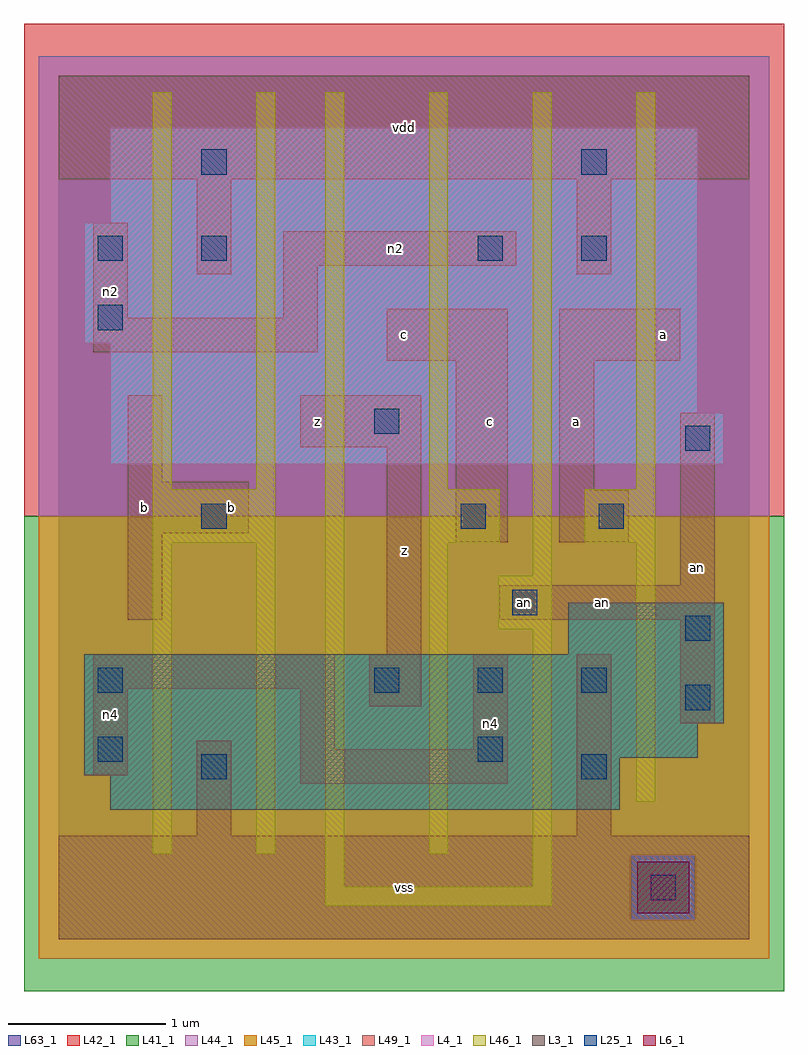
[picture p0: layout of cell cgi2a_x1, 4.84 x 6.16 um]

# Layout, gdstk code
import gdstk
lib = gdstk.Library(unit=1e-6, precision=1e-09)
def R(c, l, rs):  # rectangles x0, y0, x1, y1
    for r in rs: c.add(gdstk.rectangle(r[:2], r[2:], *l))
def A(c, l, x, y, w, h, nx, ny, dx, dy):  # array of equal rectangles
    R(c, l, [(x+i*dx, y+j*dy, x+i*dx+w, y+j*dy+h) for i in range(nx) for j in range(ny)])
L3_1 = (3, 1)
L4_1 = (4, 1)
L6_1 = (6, 1)
L25_1 = (25, 1)
L41_1 = (41, 1)
L42_1 = (42, 1)
L43_1 = (43, 1)
L44_1 = (44, 1)
L45_1 = (45, 1)
L46_1 = (46, 1)
L49_1 = (49, 1)
L63_1 = (63, 1)

cgi2a_x1 = lib.new_cell('cgi2a_x1')
R(cgi2a_x1, L3_1, [(0.33,0.825,3.575,1.045), (0.165,1.045,3.575,1.155), (0.165,1.155,4.07,1.375), (0.165,1.375,4.235,1.815), (3.245,1.815,4.235,2.145)])
R(cgi2a_x1, L4_1, [(0.33,3.025,4.235,3.355), (0.33,3.355,4.07,3.795), (0.165,3.795,4.07,4.565), (0.33,4.565,4.07,5.17)])
R(cgi2a_x1, L6_1, [(3.685,0.165,4.015,0.495)])
A(cgi2a_x1, L25_1, 2.01, 1.57, 0.16, 0.16, 3, 1, 0.66, 0)
R(cgi2a_x1, L25_1, [(3.77,0.25,3.93,0.41), (0.91,1.02,1.07,1.18), (3.33,1.02,3.49,1.18), (0.25,1.13,0.41,1.29), (2.67,1.13,2.83,1.29), (3.99,1.46,4.15,1.62), (0.25,1.57,0.41,1.73), (3.99,1.9,4.15,2.06), (2.89,2.065,3.05,2.225), (0.91,2.615,1.07,2.775), (2.56,2.615,2.72,2.775), (3.44,2.615,3.6,2.775), (3.99,3.11,4.15,3.27), (2.01,3.22,2.17,3.38), (0.25,3.88,0.41,4.04), (0.25,4.32,0.41,4.48), (0.91,4.32,1.07,4.48), (2.67,4.32,2.83,4.48), (3.33,4.32,3.49,4.48), (0.91,4.87,1.07,5.03), (3.33,4.87,3.49,5.03)])
R(cgi2a_x1, L41_1, [(-0.22,-0.33,4.62,2.695)])
R(cgi2a_x1, L42_1, [(-0.22,2.695,4.62,5.83)])
R(cgi2a_x1, L43_1, [(3.685,0.165,4.015,0.495), (0.33,0.825,3.575,1.045), (0.165,1.045,3.575,1.155), (0.165,1.155,4.07,1.375), (0.165,1.375,4.235,1.815), (3.245,1.815,4.235,2.145), (0.33,3.025,4.235,3.355), (0.33,3.355,4.07,3.795), (0.165,3.795,4.07,4.565), (0.33,4.565,4.07,5.17)])
R(cgi2a_x1, L44_1, [(3.645,0.125,4.055,0.535), (-0.125,2.695,4.525,5.625)])
R(cgi2a_x1, L45_1, [(-0.125,-0.125,4.525,0.125), (-0.125,0.125,3.645,0.535), (4.055,0.125,4.525,0.535), (-0.125,0.535,4.525,2.695)])
R(cgi2a_x1, L46_1, [(1.7,0.215,3.14,0.335), (1.7,0.335,1.82,5.395), (3.02,0.335,3.14,1.975), (0.6,0.545,0.72,2.525), (1.26,0.545,1.38,2.525), (2.36,0.545,2.48,2.525), (3.68,0.875,3.8,2.525), (2.8,1.975,3.14,2.315), (3.02,2.315,3.14,5.395), (0.6,2.525,1.38,2.865), (2.36,2.525,2.81,2.865), (3.35,2.525,3.8,2.865), (0.6,2.865,0.72,5.395), (1.26,2.865,1.38,5.395), (2.36,2.865,2.48,5.395), (3.68,2.865,3.8,5.395)])
R(cgi2a_x1, L49_1, [(0,0,4.4,0.66), (0.88,0.66,1.1,1.265), (3.3,0.66,3.52,1.815), (1.54,0.99,2.86,1.21), (0.22,1.045,0.44,1.595), (1.54,1.21,1.76,1.595), (2.64,1.21,2.86,1.815), (3.96,1.375,4.18,2.035), (1.98,1.485,2.31,1.815), (0.22,1.595,1.76,1.815), (2.09,1.815,2.31,3.135), (0.44,2.035,0.66,2.585), (2.805,2.035,4.18,2.255), (3.96,2.255,4.18,3.355), (2.53,2.53,2.86,3.685), (3.19,2.53,3.63,2.86), (0.44,2.585,1.21,2.915), (3.19,2.86,3.41,3.685), (0.44,2.915,0.66,3.465), (1.54,3.135,2.31,3.465), (2.09,3.685,2.86,4.015), (3.19,3.685,3.96,4.015), (0.22,3.74,1.65,3.96), (0.22,3.96,0.44,4.565), (1.43,3.96,1.65,4.29), (0.88,4.235,1.1,4.84), (3.3,4.235,3.52,4.84), (1.43,4.29,2.915,4.51), (0,4.84,4.4,5.5)])
R(cgi2a_x1, L63_1, [(0,0,4.4,5.5)])
cgi2a_x1.add(gdstk.Label('an', (2.97,2.145), layer=49, texttype=1))
cgi2a_x1.add(gdstk.Label('n4', (0.33,1.43), layer=49, texttype=1))
cgi2a_x1.add(gdstk.Label('b', (0.55,2.75), layer=49, texttype=1))
cgi2a_x1.add(gdstk.Label('b', (0.55,2.75), layer=49, texttype=1))
cgi2a_x1.add(gdstk.Label('n2', (0.33,4.125), layer=49, texttype=1))
cgi2a_x1.add(gdstk.Label('b', (1.1,2.75), layer=49, texttype=1))
cgi2a_x1.add(gdstk.Label('b', (1.1,2.75), layer=49, texttype=1))
cgi2a_x1.add(gdstk.Label('vss', (2.2,0.33), layer=49, texttype=1))
cgi2a_x1.add(gdstk.Label('vss', (2.2,0.33), layer=49, texttype=1))
cgi2a_x1.add(gdstk.Label('z', (2.2,2.475), layer=49, texttype=1))
cgi2a_x1.add(gdstk.Label('z', (2.2,2.475), layer=49, texttype=1))
cgi2a_x1.add(gdstk.Label('z', (1.65,3.3), layer=49, texttype=1))
cgi2a_x1.add(gdstk.Label('z', (1.65,3.3), layer=49, texttype=1))
cgi2a_x1.add(gdstk.Label('c', (2.2,3.85), layer=49, texttype=1))
cgi2a_x1.add(gdstk.Label('c', (2.2,3.85), layer=49, texttype=1))
cgi2a_x1.add(gdstk.Label('vdd', (2.2,5.17), layer=49, texttype=1))
cgi2a_x1.add(gdstk.Label('vdd', (2.2,5.17), layer=49, texttype=1))
cgi2a_x1.add(gdstk.Label('n4', (2.75,1.375), layer=49, texttype=1))
cgi2a_x1.add(gdstk.Label('a', (3.3,3.3), layer=49, texttype=1))
cgi2a_x1.add(gdstk.Label('a', (3.3,3.3), layer=49, texttype=1))
cgi2a_x1.add(gdstk.Label('c', (2.75,3.3), layer=49, texttype=1))
cgi2a_x1.add(gdstk.Label('c', (2.75,3.3), layer=49, texttype=1))
cgi2a_x1.add(gdstk.Label('n2', (2.145,4.4), layer=49, texttype=1))
cgi2a_x1.add(gdstk.Label('an', (3.465,2.145), layer=49, texttype=1))
cgi2a_x1.add(gdstk.Label('an', (4.07,2.365), layer=49, texttype=1))
cgi2a_x1.add(gdstk.Label('a', (3.85,3.85), layer=49, texttype=1))
cgi2a_x1.add(gdstk.Label('a', (3.85,3.85), layer=49, texttype=1))

lib.write_gds('cgi2a_x1.gds')
